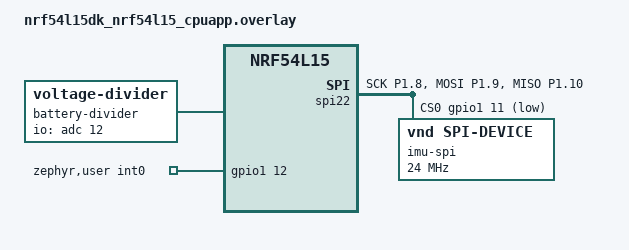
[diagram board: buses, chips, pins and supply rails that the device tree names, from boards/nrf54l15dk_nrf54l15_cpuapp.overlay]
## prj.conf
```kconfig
#CONFIG_NCS_SAMPLES_DEFAULTS
CONFIG_ASSERT=y
CONFIG_ASSERT_NO_COND_INFO=y
CONFIG_ASSERT_NO_MSG_INFO=y
CONFIG_RESET_ON_FATAL_ERROR=y

CONFIG_NCS_APPLICATION_BOOT_BANNER_STRING="SlimeVR-Tracker-nRF"
#CONFIG_NCS_BOOT_BANNER=n
CONFIG_BOOT_BANNER=n

CONFIG_ESB=y
#need to enable for nRF54L
CONFIG_NRFX_DPPI10=y

CONFIG_ADC=y
CONFIG_ADC_NRFX_SAADC=y
CONFIG_FPU=y
CONFIG_I2C=y
CONFIG_SPI=y
CONFIG_PINCTRL=y

CONFIG_NVS=y
CONFIG_NVS_LOOKUP_CACHE=y
CONFIG_NVS_INIT_BAD_MEMORY_REGION=y

CONFIG_POWEROFF=y
CONFIG_REBOOT=y

CONFIG_FLASH=y
CONFIG_FLASH_PAGE_LAYOUT=y
CONFIG_FLASH_MAP=y

CONFIG_SETTINGS=y
CONFIG_SETTINGS_RUNTIME=y
CONFIG_SETTINGS_NONE=y

CONFIG_MPU_ALLOW_FLASH_WRITE=y

CONFIG_RETAINED_MEM=y

CONFIG_USE_SEGGER_RTT=y
CONFIG_LOG=y
#CONFIG_PRINTK=y
CONFIG_LOG_MODE_DEFERRED=y
CONFIG_LOG_SPEED=y
CONFIG_LOG_BACKEND_RTT=y
CONFIG_CBPRINTF_FP_SUPPORT=y
CONFIG_ADC_LOG_LEVEL_OFF=y
CONFIG_LOG_FUNC_NAME_PREFIX_ERR=y
CONFIG_LOG_BUFFER_SIZE=8192
CONFIG_LOG_BACKEND_UART_AUTOSTART=n
CONFIG_LOG_PROCESS_THREAD_SLEEP_MS=50
CONFIG_LOG_PROCESS_THREAD_STACK_SIZE=1024

CONFIG_PWM=y
CONFIG_GPIO=y

CONFIG_CRC=y

CONFIG_NEWLIB_LIBC=y
CONFIG_NRFX_TIMER1=y

#speed up boot? (use internal rc oscillator)
CONFIG_CLOCK_CONTROL_NRF_K32SRC_RC=y
CONFIG_CLOCK_CONTROL_NRF_K32SRC_RC_CALIBRATION=n
#speed up boot? (synthesize lf clock)
#CONFIG_CLOCK_CONTROL_NRF_K32SRC_SYNTH=y

# dont need it
CONFIG_CRYPTO=n

# set timeout for 25ms, sufficient for ~1000 bytes
CONFIG_I2C_NRFX_TRANSFER_TIMEOUT=25

CONFIG_USB_DEVICE_HID=y
CONFIG_USB_DEVICE_VID=0x1209
CONFIG_USB_DEVICE_PID=0x7692
CONFIG_USB_HID_BOOT_PROTOCOL=y
CONFIG_USB_DEVICE_INITIALIZE_AT_BOOT=n
CONFIG_USB_CDC_ACM=y
CONFIG_UART_INTERRUPT_DRIVEN=y
CONFIG_USB_WORKQUEUE_STACK_SIZE=512

CONFIG_SERIAL=y
CONFIG_CONSOLE=y
CONFIG_RTT_CONSOLE=y
CONFIG_UART_CONSOLE=y
CONFIG_UART_LINE_CTRL=y
# fit "write all <base64:173>"
CONFIG_CONSOLE_INPUT_MAX_LINE_LEN=256

CONFIG_LOG=y
CONFIG_USB_DRIVER_LOG_LEVEL_ERR=y
CONFIG_USB_DEVICE_LOG_LEVEL_ERR=y
CONFIG_USB_CDC_ACM_LOG_LEVEL_OFF=y

CONFIG_LOG_BACKEND_UART=y

CONFIG_CONSOLE_SUBSYS=y
CONFIG_CONSOLE_GETLINE=y

CONFIG_NVS_LOG_LEVEL_WRN=y
CONFIG_USB_HID_LOG_LEVEL_WRN=y

CONFIG_USB_DEVICE_SOF=y
CONFIG_USB_HID_REPORTS=256

#CONFIG_USB_HID_POLL_INTERVAL_MS=1
CONFIG_USB_HID_POLL_INTERVAL_MS=0
CONFIG_HID_INTERRUPT_EP_MPS=64
#CONFIG_ENABLE_HID_INT_OUT_EP=y

CONFIG_SYSTEM_WORKQUEUE_STACK_SIZE=256
CONFIG_MAIN_STACK_SIZE=512
#crashing on nrf54l at 512

CONFIG_THREAD_NAME=y

# TODO: because of icm426, this will break things and needs to be raised to at least 3k
CONFIG_HEAP_MEM_POOL_SIZE=2048
CONFIG_ISR_STACK_SIZE=1024

CONFIG_PM_DEVICE=y

CONFIG_BASE64=y

#CONFIG_THREAD_ANALYZER=y
#CONFIG_THREAD_ANALYZER_AUTO=y
#CONFIG_THREAD_ANALYZER_AUTO_INTERVAL=5

CONFIG_BUILD_OUTPUT_UF2=y
CONFIG_BUILD_OUTPUT_UF2_FAMILY_ID="0xADA52840"
#CONFIG_LOG_DEFAULT_LEVEL=1
#CONFIG_PM_LOG_LEVEL_OFF=y
```

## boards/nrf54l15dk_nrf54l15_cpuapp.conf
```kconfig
# nRF54L15 does not have USB hardware
CONFIG_USB_DEVICE_STACK=n
CONFIG_USB_DEVICE_HID=n
CONFIG_USB_CDC_ACM=n

# Enable UART console for serial access (alternative to RTT)
# Connect to UART20: TX=P0.0, RX=P0.1 on Arduino header
# CONFIG_UART_CONSOLE=y
# CONFIG_CONSOLE_SUBSYS=y

# Use RTT for console via J-Link debugger (default, no wiring needed)
# CONFIG_RTT_CONSOLE=y (enabled in prj.conf)
# CONFIG_USE_SEGGER_RTT=y (enabled in prj.conf)

# nRF54L15 requires larger stack sizes than nRF52840
CONFIG_MAIN_STACK_SIZE=2048
CONFIG_SYSTEM_WORKQUEUE_STACK_SIZE=1024
CONFIG_ISR_STACK_SIZE=2048

# Increase heap for ICM-45686 IMU driver
CONFIG_HEAP_MEM_POOL_SIZE=4096

# Enable SPI20 peripheral explicitly
CONFIG_SPI=y
```

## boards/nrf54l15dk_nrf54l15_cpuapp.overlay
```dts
&pinctrl {
	spi22_default: spi22_default {
		group1 {
			psels = <NRF_PSEL(SPIM_SCK, 1, 8)>,
				<NRF_PSEL(SPIM_MOSI, 1, 9)>,
				<NRF_PSEL(SPIM_MISO, 1, 10)>;
		};
	};

	spi22_sleep: spi22_sleep {
		group1 {
			psels = <NRF_PSEL(SPIM_SCK, 1, 8)>,
				<NRF_PSEL(SPIM_MOSI, 1, 9)>,
				<NRF_PSEL(SPIM_MISO, 1, 10)>;
			low-power-enable;
		};
	};

};

/ {
	// nRF54L15 has no USB - console/shell use RTT (configured in prj.conf)

	aliases {
		/delete-property/ pwm-led0;
	};

	battery-divider {
		compatible = "voltage-divider";
		status = "okay";
		io-channels = <&adc 12>; // Measure VDDHDIV5
		output-ohms = <1>;
		full-ohms = <2>;
	};

	zephyr,user {
		int0-gpios = <&gpio1 12 GPIO_ACTIVE_HIGH>;
		// led-gpios not defined - P1.10 used by SPI MISO
		// clk-gpios not defined - P1.13 conflicts with button0
		// External clock for ICM-45686 is optional and not used on nRF54L15-DK
	};
};

// Disable conflicting peripherals to free pins for SPI
// P1.8 (button2), P1.9 (button1), P1.10 (led0) needed for SPI
&button0 {
	status = "disabled";
};

&button1 {
	status = "disabled";
};

&button2 {
	status = "disabled";
};

&led0 {
	status = "disabled";
};

&led1 {
	status = "disabled";
};

&pwm20 {
	status = "disabled";
};

// I2C not used on nRF54L15-DK (IMU on SPI)
&i2c20 {
	status = "disabled";
};

// UART20 disabled - using RTT console instead
&uart20 {
	status = "disabled";
};

// SPI configuration for ICM-45686 IMU using SPIM22 (WiFi shield connector)
// Pin mapping: SCK=P1.8, MOSI=P1.9, MISO=P1.10, CS=P1.11, INT=P1.12, CLK=P1.13(unused)
// Using P1.08-P1.14 range (recommended, not used by default DK peripherals)
&spi22 {
	compatible = "nordic,nrf-spim";
	status = "okay";
	cs-gpios = <&gpio1 11 GPIO_ACTIVE_LOW>;
	pinctrl-0 = <&spi22_default>;
	pinctrl-1 = <&spi22_sleep>;
	pinctrl-names = "default", "sleep";

	imu_spi: imu_spi@0 {
		compatible = "vnd,spi-device";
		reg = <0>;
		spi-max-frequency = <DT_FREQ_M(24)>;
		label = "imu-spi";
	};
};

// nRF54L15 does not have USB hardware - console uses RTT instead
```

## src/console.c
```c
#include "globals.h"
#include "system/system.h"
#include "system/battery_tracker.h"
#include "sensor/sensor.h"
#include "sensor/calibration.h"
#include "connection/esb.h"
#include "build_defines.h"
#include "parse_args.h"

#if CONFIG_USB_DEVICE_STACK
#define USB DT_NODELABEL(usbd)
#define USB_EXISTS (DT_NODE_HAS_STATUS(USB, okay) && CONFIG_UART_CONSOLE)
#endif

#if (USB_EXISTS || CONFIG_RTT_CONSOLE) && CONFIG_USE_SLIMENRF_CONSOLE

#if USB_EXISTS
#include <zephyr/console/console.h>
#include <zephyr/logging/log_ctrl.h>
#else
#include "system/rtt_console.h"
#endif
#include <zephyr/drivers/gpio.h>
#include <zephyr/sys/reboot.h>
#include <zephyr/sys/base64.h>

#include <ctype.h>

// GPREGRET compatibility: nRF54L has array, nRF52/53 has single register
#if defined(CONFIG_SOC_SERIES_NRF54LX)
	#define GPREGRET_SET(val) NRF_POWER->GPREGRET[0] = (val)
#else
	#define GPREGRET_SET(val) NRF_POWER->GPREGRET = (val)
#endif

LOG_MODULE_REGISTER(console, LOG_LEVEL_INF);

static void console_thread(void);
#if USB_EXISTS
static struct k_thread console_thread_id;
static K_THREAD_STACK_DEFINE(console_thread_id_stack, 1024); // TODO: larger stack size to handle print info
#else
K_THREAD_DEFINE(console_thread_id, 1024, console_thread, NULL, NULL, NULL, CONSOLE_THREAD_PRIORITY, 0, 0);
#endif

#define DFU_EXISTS CONFIG_BUILD_OUTPUT_UF2 || CONFIG_BOARD_HAS_NRF5_BOOTLOADER
#define ADAFRUIT_BOOTLOADER CONFIG_BUILD_OUTPUT_UF2
#define NRF5_BOOTLOADER CONFIG_BOARD_HAS_NRF5_BOOTLOADER

#if NRF5_BOOTLOADER
static const struct device *gpio_dev = DEVICE_DT_GET(DT_NODELABEL(gpio0));
#endif

#if DT_NODE_HAS_STATUS(DT_NODELABEL(mag), okay)
#define SENSOR_MAG_EXISTS true
#endif

static const char *meows[] = {
	"Mew",
	"Meww",
	"Meow",
	"Meow meow",
	"Mrrrp",
	"Mrrf",
	"Mreow",
	"Mrrrow",
	"Mrrr",
	"Purr",
	"mew",
	"meww",
	"meow",
	"meow meow",
	"mrrrp",
	"mrrf",
	"mreow",
	"mrrrow",
	"mrrr",
	"purr",
};

static const char *meow_punctuations[] = {
	".",
	"?",
	"!",
	"-",
	"~",
	""
};

static const char *meow_suffixes[] = {
	" :3",
	" :3c",
	" ;3",
	" ;3c",
	" x3",
	" x3c",
	" X3",
	" X3c",
	" >:3",
	" >:3c",
	" >;3",
	" >;3c",
	""
};

void console_thread_create(void)
{
#if USB_EXISTS
	k_thread_create(&console_thread_id, console_thread_id_stack, K_THREAD_STACK_SIZEOF(console_thread_id_stack), (k_thread_entry_t)console_thread, NULL, NULL, NULL, CONSOLE_THREAD_PRIORITY, 0, K_NO_WAIT);
#endif
}

void console_thread_abort(void)
{
#if USB_EXISTS
	k_thread_abort(&console_thread_id);
#endif
}

static void print_board(void)
{
#if USB_EXISTS
	printk(CONFIG_USB_DEVICE_MANUFACTURER " " CONFIG_USB_DEVICE_PRODUCT "\n");
#endif
	printk(FW_STRING);

	printk("\nBoard: " CONFIG_BOARD "\n");
	printk("SOC: " CONFIG_SOC "\n");
	printk("Target: " CONFIG_BOARD_TARGET "\n");
}

static void print_sensor(void)
{
	printk("IMU: %s\n", (retained->imu_addr & 0x7F) != 0x7F ? sensor_get_sensor_imu_name() : "Not searching");
	if (retained->imu_reg != 0xFF)
		printk("Interface: %s\n", (retained->imu_reg & 0x80) ? "SPI" : "I2C");
	printk("Address: 0x%02X%02X\n", retained->imu_addr, retained->imu_reg);

#if SENSOR_MAG_EXISTS
	printk("\nMagnetometer: %s\n", (retained->mag_addr & 0x7F) != 0x7F ? sensor_get_sensor_mag_name() : "Not searching");
	if (retained->mag_reg != 0xFF)
		printk("Interface: %s%s\n", (retained->mag_reg & 0x80) ? "SPI" : "I2C", (retained->mag_addr & 0x80) ? ", external" : "");
	printk("Address: 0x%02X%02X\n", retained->mag_addr, retained->mag_reg);
#endif

#if CONFIG_SENSOR_USE_6_SIDE_CALIBRATION
	printk("\nAccelerometer matrix:\n");
	for (int i = 0; i < 3; i++)
		printk("%.5f %.5f %.5f %.5f\n", (double)retained->accBAinv[0][i], (double)retained->accBAinv[1][i], (double)retained->accBAinv[2][i], (double)retained->accBAinv[3][i]);
#else
	printk("\nAccelerometer bias: %.5f %.5f %.5f\n", (double)retained->accelBias[0], (double)retained->accelBias[1], (double)retained->accelBias[2]);
#endif
	printk("Gyroscope bias: %.5f %.5f %.5f\n", (double)retained->gyroBias[0], (double)retained->gyroBias[1], (double)retained->gyroBias[2]);
#if SENSOR_MAG_EXISTS
//	printk("Magnetometer bridge offset: %.5f %.5f %.5f\n", (double)retained->magBias[0], (double)retained->magBias[1], (double)retained->magBias[2]);
	printk("Magnetometer matrix:\n");
	for (int i = 0; i < 3; i++)
		printk("%.5f %.5f %.5f %.5f\n", (double)retained->magBAinv[0][i], (double)retained->magBAinv[1][i], (double)retained->magBAinv[2][i], (double)retained->magBAinv[3][i]);
#endif

	printk("\nFusion: %s\n", sensor_get_sensor_fusion_name());
}

static void print_connection(void)
{
	bool paired = retained->paired_addr[0];
	printk(paired ? "Tracker ID: %u\n" : "\nTracker ID: None\n", retained->paired_addr[1]);
	printk("Device address: %012llX\n", *(uint64_t *)NRF_FICR->DEVICEADDR & 0xFFFFFFFFFFFF);
	printk(paired ? "Receiver address: %012llX\n" : "Receiver address: None\n", (*(uint64_t *)&retained->paired_addr[0] >> 16) & 0xFFFFFFFFFFFF);
}

static void print_battery(void)
{
	int battery_mV = sys_get_valid_battery_mV();
	int16_t calibrated_pptt = sys_get_calibrated_battery_pptt(sys_get_valid_battery_pptt());
	uint64_t unplugged_time = sys_get_last_unplugged_time();
	uint64_t remaining = sys_get_battery_remaining_time_estimate();
	uint64_t runtime = sys_get_battery_runtime_estimate();
	if (battery_mV > 0)
	{
		unplugged_time = k_ticks_to_us_floor64(k_uptime_ticks() - unplugged_time);
		uint32_t hours = unplugged_time / 3600000000;
		unplugged_time %= 3600000000;
		uint8_t minutes = unplugged_time / 60000000;
		if (hours > 0 || minutes > 0)
			printk("Battery: %.0f%% (Read %uh %umin ago)\n", (double)calibrated_pptt / 100.0, hours, minutes);
		else
			printk("Battery: %.0f%%\n", (double)calibrated_pptt / 100.0);
	}
	else if (unplugged_time == 0)
	{
		printk("Battery: Waiting for valid reading\n");
	}
	else
	{
		printk("Battery: None\n");
	}
	if (remaining > 0)
	{
		remaining = k_ticks_to_us_floor64(remaining);
		uint32_t hours = remaining / 3600000000;
		remaining %= 3600000000;
		uint8_t minutes = remaining / 60000000;
		printk("Remaining runtime: %uh %umin\n", hours, minutes);
	}
	else
	{
		printk("Remaining runtime: Not available\n");
	}
	if (runtime > 0)
	{
		runtime = k_ticks_to_us_floor64(runtime);
		uint32_t hours = runtime / 3600000000;
		runtime %= 3600000000;
		uint8_t minutes = runtime / 60000000;
		printk("Fully charged runtime: %uh %umin\n", hours, minutes);
	}
	else
	{
		printk("Fully charged runtime: Not available\n");
	}
}

static void print_info(void)
{
	print_board();
	printk("\n");
	print_sensor();
	printk("\n");
	print_connection();
	printk("\n");
	print_battery();
}

static void print_uptime(const uint64_t ticks, const char *name)
{
	uint64_t uptime = k_ticks_to_us_floor64(ticks);

	uint32_t hours = uptime / 3600000000;
	uptime %= 3600000000;
	uint8_t minutes = uptime / 60000000;
	uptime %= 60000000;
	uint8_t seconds = uptime / 1000000;
	uptime %= 1000000;
	uint16_t milliseconds = uptime / 1000;
	uint16_t microseconds = uptime % 1000;

	printk("%s: %02u:%02u:%02u.%03u,%03u\n", name, hours, minutes, seconds, milliseconds, microseconds);
}

static void print_battery_tracker(void)
{
	int adc_mV = sys_get_battery_mV();
	printk("ADC: %d mV\n", adc_mV);

	int battery_mV = sys_get_valid_battery_mV();
	int16_t pptt = sys_get_valid_battery_pptt();
	int16_t calibrated_pptt = sys_get_calibrated_battery_pptt(pptt);
	uint64_t unplugged_time = sys_get_last_unplugged_time();
	if (battery_mV > 0)
		printk("\nBattery: %.2f%% (Raw %.2f%%, %d mV)\n", (double)calibrated_pptt / 100.0, (double)pptt / 100.0, battery_mV);
	else
		printk("\nBattery: None\n");
	if (unplugged_time > 0)
		print_uptime(k_uptime_ticks() - unplugged_time, "Last updated");
	else
		printk("Last updated: Never\n");

	uint64_t runtime = sys_get_battery_runtime_estimate();
	uint64_t runtime_min = sys_get_battery_runtime_min_estimate();
	uint64_t runtime_max = sys_get_battery_runtime_max_estimate();
	uint64_t remaining = sys_get_battery_remaining_time_estimate();
	if (remaining > 0)
		print_uptime(remaining, "\nRemaining runtime");
	else
		printk("Remaining runtime: Not available\n");
	if (runtime > 0)
		print_uptime(runtime, "Fully charged runtime");
	else
		printk("Fully charged runtime: Not available\n");
	if (runtime_min > 0)
		print_uptime(runtime_min, "Minimum runtime");
	else
		printk("Minimum runtime: Not available\n");
	if (runtime_max > 0)
		print_uptime(runtime_max, "Maximum runtime");
	else
		printk("Maximum runtime: Not available\n");

	int16_t last_min = sys_get_last_cycle_min_pptt();
	int16_t last_max = sys_get_last_cycle_max_pptt();
	int16_t last_calibrated_min = sys_get_calibrated_battery_pptt(last_min);
	int16_t last_calibrated_max = sys_get_calibrated_battery_pptt(last_max);
	uint64_t last_runtime = sys_get_last_cycle_runtime();
	if (last_min >= 0 && last_max >= 0 && last_runtime > 0)
	{
		printk("\nLast discharge cycle: %.2f%% -> %.2f%% (Raw %.2f%% -> %.2f%%)\n", (double)last_calibrated_max / 100.0, (double)last_calibrated_min / 100.0, (double)last_max / 100.0, (double)last_min / 100.0);
		print_uptime(last_runtime, "Last cycle runtime");
	}
	else
	{
		printk("\nLast cycle: Not available\n");
	}

	uint8_t coverage = sys_get_battery_calibration_coverage() * 5;
	int16_t min = sys_get_calibrated_battery_range_min_pptt();
	int16_t max = sys_get_calibrated_battery_range_max_pptt();
	if (min >= 0 && max >= 0)
		printk("\nCalibration: %.0f%% - %.0f%% (%.0f%% coverage)\n", (double)min / 100.0, (double)max / 100.0, (double)coverage);
	else
		printk("\nCalibration: None\n");
	printk("Cycle count: ~%.2f\n", (double)sys_get_battery_cycles() / 20.0);
}

static void print_meow(void)
{
	int64_t ticks = k_uptime_ticks();

	ticks %= ARRAY_SIZE(meows) * ARRAY_SIZE(meow_punctuations) * ARRAY_SIZE(meow_suffixes); // silly number generator
	uint8_t meow = ticks / (ARRAY_SIZE(meow_punctuations) * ARRAY_SIZE(meow_suffixes));
	ticks %= (ARRAY_SIZE(meow_punctuations) * ARRAY_SIZE(meow_suffixes));
	uint8_t punctuation = ticks / ARRAY_SIZE(meow_suffixes);
	uint8_t suffix = ticks % ARRAY_SIZE(meow_suffixes);

	printk("%s%s%s\n", meows[meow], meow_punctuations[punctuation], meow_suffixes[suffix]);
}

static inline void strtolower(char *str) {
	for(int i = 0; str[i]; i++) {
		str[i] = tolower(str[i]);
	}
}

static void console_thread(void)
{
#if USB_EXISTS && DFU_EXISTS
	if (button_read()) // button held on usb connect, enter DFU
	{
#if ADAFRUIT_BOOTLOADER
		GPREGRET_SET(0x57);
		sys_request_system_reboot(false);
#endif
#if NRF5_BOOTLOADER
		gpio_pin_configure(gpio_dev, 19, GPIO_OUTPUT | GPIO_OUTPUT_INIT_LOW);
#endif
	}
#endif

#if USB_EXISTS
	console_getline_init();
	while (log_data_pending())
		k_usleep(1);
	k_msleep(100);
	printk("*** " CONFIG_USB_DEVICE_MANUFACTURER " " CONFIG_USB_DEVICE_PRODUCT " ***\n");
#endif
	printk(FW_STRING);
	printk("info                         Get device information\n");
	printk("uptime                       Get device uptime\n");
	printk("reboot                       Soft reset the device\n");
	printk("battery                      Get battery information\n");
	printk("scan                         Restart sensor scan\n");
	printk("calibrate                    Calibrate sensor ZRO\n");

	const char command_info[] = "info";
	const char command_uptime[] = "uptime";
	const char command_reboot[] = "reboot";
	const char command_battery[] = "battery";
	const char command_scan[] = "scan";
	const char command_calibrate[] = "calibrate";

#if CONFIG_SENSOR_USE_6_SIDE_CALIBRATION
	printk("6-side                       Calibrate 6-side accelerometer\n");

	const char command_6_side[] = "6-side";
#endif

#if SENSOR_MAG_EXISTS
	printk("mag                          Clear magnetometer calibration\n");

	const char command_mag[] = "mag";
#endif

	printk("set <address>                Manually set receiver\n");
	printk("pair                         Enter pairing mode\n");
	printk("clear                        Clear pairing data\n");

	const char command_set[] = "set";
	const char command_pair[] = "pair";
	const char command_clear[] = "clear";

#if DFU_EXISTS
	printk("dfu                          Enter DFU bootloader\n");

	const char command_dfu[] = "dfu";
#endif

	printk("meow                         Meow!\n");

	const char command_meow[] = "meow";

	// debug
	const char command_reset[] = "reset";
	const char command_reset_arg_zro[] = "zro";
#if CONFIG_SENSOR_USE_6_SIDE_CALIBRATION
	const char command_reset_arg_acc[] = "acc";
#endif
#if SENSOR_MAG_EXISTS
	const char command_reset_arg_mag[] = "mag";
#endif
	const char command_reset_arg_bat[] = "bat";
	const char command_reset_arg_all[] = "all";

	// settings
	const char command_write[] = "write";
	const char command_read[] = "read";
	const char command_wr_arg_byte[] = "byte";
	const char command_wr_arg_word[] = "word";
	const char command_wr_arg_all[] = "all";

	while (1) {
#if USB_EXISTS
		char *line = console_getline();
#else
		char *line = rtt_console_getline();
#endif
		char* argv[5] = {NULL}; // command and 4 args
		size_t argc = parse_args(line, argv, ARRAY_SIZE(argv));
		if(argc == 0)
			continue;
		if(argc > 0)
			strtolower(argv[0]); // lower case the command
		if(argc > 1)
			strtolower(argv[1]); // lower case the first argument
		// only care that the first words are matchable

		if (strcmp(argv[0], command_info) == 0)
		{
			print_info();
		}
		else if (strcmp(argv[0], command_uptime) == 0)
		{
			uint64_t uptime = k_uptime_ticks();
			print_uptime(uptime, "Uptime");
			print_uptime(uptime - retained->uptime_latest + retained->uptime_sum, "Accumulated");
		}
		else if (strcmp(argv[0], command_reboot) == 0)
		{
			sys_request_system_reboot(false);
		}
		else if (strcmp(argv[0], command_battery) == 0)
		{
			print_battery_tracker();
		}
		else if (strcmp(argv[0], command_scan) == 0)
		{
			sensor_request_scan(true);
		}
		else if (strcmp(argv[0], command_calibrate) == 0)
		{
			sensor_request_calibration();
		}
#if CONFIG_SENSOR_USE_6_SIDE_CALIBRATION
		else if (strcmp(argv[0], command_6_side) == 0)
		{
			sensor_request_calibration_6_side();
		}
#endif
#if SENSOR_MAG_EXISTS
		else if (strcmp(argv[0], command_mag) == 0)
		{
			sensor_calibration_clear_mag(NULL, true);
		}
#endif
		else if (strcmp(argv[0], command_set) == 0) 
		{
			if (argc != 2)
			{
				printk("Invalid number of arguments\n");
				continue;
			}
			uint64_t addr = parse_u64(argv[1], 16);
			uint8_t buf[17];
			snprintk(buf, 17, "%016llx", addr);
			if (addr != 0 && strcmp(buf, argv[1]) == 0)
				esb_set_pair(addr);
			else
				printk("Invalid address\n");
		}
		else if (strcmp(argv[0], command_pair) == 0) 
		{
			esb_reset_pair();
		}
		else if (strcmp(argv[0], command_clear) == 0) 
		{
			esb_clear_pair();
		}
#if DFU_EXISTS
		else if (strcmp(argv[0], command_dfu) == 0)
		{
#if ADAFRUIT_BOOTLOADER
			GPREGRET_SET(0x57);
			sys_request_system_reboot(false);
#endif
#if NRF5_BOOTLOADER
			gpio_pin_configure(gpio_dev, 19, GPIO_OUTPUT | GPIO_OUTPUT_INIT_LOW);
#endif
		}
#endif
		else if (strcmp(argv[0], command_meow) == 0) 
		{
			print_meow();
		}
		else if (strcmp(argv[0], command_reset) == 0)
		{
			if (argc != 2)
			{
				printk("Invalid number of arguments\n");
			}
			else if (strcmp(argv[1], command_reset_arg_zro) == 0)
			{
				sensor_calibration_clear(NULL, NULL, true);
			}
#if CONFIG_SENSOR_USE_6_SIDE_CALIBRATION
			else if (strcmp(argv[1], command_reset_arg_acc) == 0)
			{
				sensor_calibration_clear_6_side(NULL, true);
			}
#endif
#if SENSOR_MAG_EXISTS
			else if (strcmp(argv[1], command_reset_arg_mag) == 0)
			{
				sensor_calibration_clear_mag(NULL, true);
			}
#endif
			else if (strcmp(argv[1], command_reset_arg_bat) == 0)
			{
				sys_reset_battery_tracker();
			}
			else if (strcmp(argv[1], command_reset_arg_all) == 0)
			{
				sys_clear();
			}
			else
			{
				printk("Invalid argument\n");
			}
		}
		else if (strcmp(argv[0], command_write) == 0) 
		{
			if (argc == 1)
			{
				printk("Invalid number of arguments\n");
			}
			else if (strcmp(argv[1], command_wr_arg_all) == 0)
			{
				if (argc != 3)
				{
					printk("Invalid number of arguments\n");
				}
				else
				{
					uint8_t *tmp = k_malloc(128);
					uint16_t len = 0;
					int err = base64_decode(tmp, 128, (size_t *)&len, argv[2], 172);
					printk("decode: %d, len %d\n", err, len);
					memcpy(retained->settings, tmp, sizeof(retained->settings));
					sys_write(SETTINGS_ID, NULL, retained->settings, sizeof(retained->settings));
					k_free(tmp);
				}
			}
			else if (argc != 4)
			{
				printk("Invalid number of arguments\n");
			}
			else
			{
				uint64_t addr = parse_u64(argv[2], 16);
				uint64_t val = parse_u64(argv[3], 10);
				if (strcmp(argv[1], command_wr_arg_byte) == 0)
				{
					if (addr < 128)
					{
						if (val < (1 << 8))
						{
							printk("write byte: %lld to %lld\n", val, addr);
							memcpy(retained->settings + addr, &val, 1);
							sys_write(SETTINGS_ID, NULL, retained->settings, sizeof(retained->settings));
						}
						else
						{
							printk("Invalid value\n");
						}
					}
					else
					{
						printk("Invalid address\n");
					}
				}
				else if (strcmp(argv[1], command_wr_arg_word) == 0)
				{
					if (addr < 127)
					{
						if (val < (1 << 16))
						{
							printk("write word: %lld to %lld\n", val, addr);
							memcpy(retained->settings + addr, &val, 2);
							sys_write(SETTINGS_ID, NULL, retained->settings, sizeof(retained->settings));
						}
						else
						{
							printk("Invalid value\n");
						}
					}
					else
					{
						printk("Invalid address\n");
					}
				}
			}
		}
		else if (strcmp(line, command_read) == 0) 
		{
			if (argc == 1)
			{
				printk("Invalid number of arguments\n");
			}
			else if (strcmp(argv[1], command_wr_arg_all) == 0)
			{
				if (argc != 2)
				{
					printk("Invalid number of arguments\n");
				}
				else
				{
					uint8_t *tmp = k_malloc(173);
					uint16_t len = 0;
					int err = base64_encode(tmp, 173, (size_t *)&len, retained->settings, 128);
					printk("encode: %d, len %d\n", err, len);
					printk("%s\n", tmp);
					k_free(tmp);
				}
			}
			else if (argc != 3)
			{
				printk("Invalid number of arguments\n");
			}
			else
			{
				uint64_t addr = parse_u64(argv[2], 16);
				uint64_t val = 0;
				if (strcmp(argv[1], command_wr_arg_byte) == 0)
				{
					if (addr < 128)
					{
						if (val < (1 << 8))
						{
							memcpy(&val, retained->settings + addr, 1);
							printk("read byte: %lld from %lld\n", val, addr);
						}
						else
						{
							printk("Invalid value\n");
						}
					}
					else
					{
						printk("Invalid address\n");
					}
				}
				else if (strcmp(argv[1], command_wr_arg_word) == 0)
				{
					if (addr < 127)
					{
						if (val < (1 << 16))
						{
							memcpy(&val, retained->settings + addr, 2);
							printk("read word: %lld from %lld\n", val, addr);
						}
						else
						{
							printk("Invalid value\n");
						}
					}
					else
					{
						printk("Invalid address\n");
					}
				}
			}
		}
		else
		{
			printk("Unknown command\n");
		}
	}
}

#endif
```
